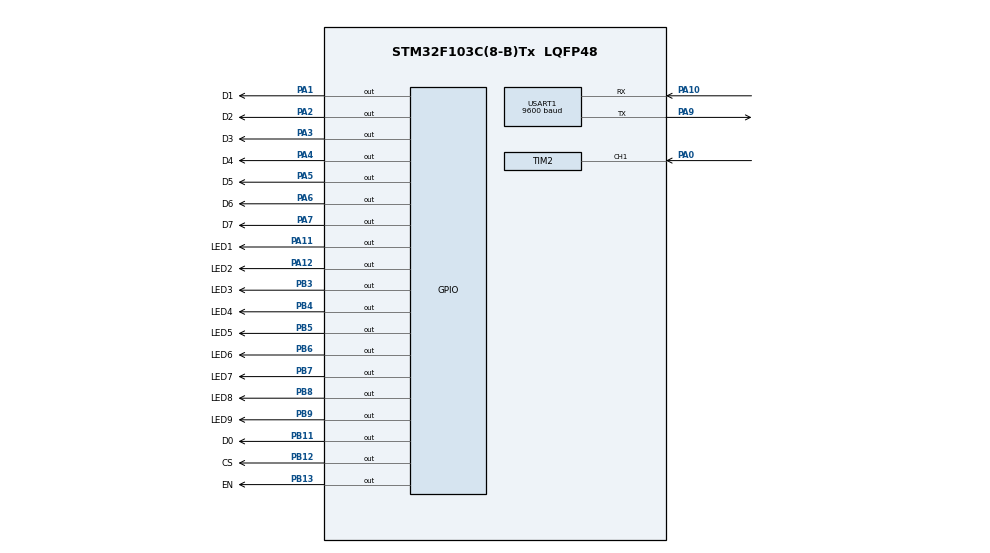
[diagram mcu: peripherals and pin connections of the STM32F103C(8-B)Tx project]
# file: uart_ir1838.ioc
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Mcu.Family=STM32F1
Mcu.Name=STM32F103C(8-B)Tx
Mcu.Package=LQFP48
NVIC.PriorityGroup=NVIC_PRIORITYGROUP_4
NVIC.TIM2_IRQn=true\:0\:0\:false\:false\:true\:true\:true\:true
NVIC.USART1_IRQn=true\:0\:0\:false\:false\:true\:true\:true\:true
PA0-WKUP.Signal=S_TIM2_CH1_ETR
PA1.GPIO_Label=D1
PA1.Signal=GPIO_Output
PA10.Mode=Asynchronous
PA10.Signal=USART1_RX
PA11.GPIO_Label=LED1
PA11.Signal=GPIO_Output
PA12.GPIO_Label=LED2
PA12.Signal=GPIO_Output
PA13.Mode=Serial_Wire
PA13.Signal=SYS_JTMS-SWDIO
PA14.Mode=Serial_Wire
PA14.Signal=SYS_JTCK-SWCLK
PA2.GPIO_Label=D2
PA2.Signal=GPIO_Output
PA3.GPIO_Label=D3
PA3.Signal=GPIO_Output
PA4.GPIO_Label=D4
PA4.Signal=GPIO_Output
PA5.GPIO_Label=D5
PA5.Signal=GPIO_Output
PA6.GPIO_Label=D6
PA6.Signal=GPIO_Output
PA7.GPIO_Label=D7
PA7.Signal=GPIO_Output
PA9.Mode=Asynchronous
PA9.Signal=USART1_TX
PB11.GPIO_Label=D0
PB11.Signal=GPIO_Output
PB12.GPIO_Label=CS
PB12.Signal=GPIO_Output
PB13.GPIO_Label=EN
PB13.Signal=GPIO_Output
PB3.GPIO_Label=LED3
PB3.Signal=GPIO_Output
PB4.GPIO_Label=LED4
PB4.Signal=GPIO_Output
PB5.GPIO_Label=LED5
PB5.Signal=GPIO_Output
PB6.GPIO_Label=LED6
PB6.Signal=GPIO_Output
PB7.GPIO_Label=LED7
PB7.Signal=GPIO_Output
PB8.GPIO_Label=LED8
PB8.Signal=GPIO_Output
PB9.GPIO_Label=LED9
PB9.Signal=GPIO_Output
PD0-OSC_IN.Mode=HSE-External-Oscillator
PD0-OSC_IN.Signal=RCC_OSC_IN
PD1-OSC_OUT.Mode=HSE-External-Oscillator
PD1-OSC_OUT.Signal=RCC_OSC_OUT
ProjectManager.HeapSize=0x200
ProjectManager.StackSize=0x400
ProjectManager.TargetToolchain=MDK-ARM V5.32
RCC.APB1Freq_Value=8000000
RCC.APB2Freq_Value=8000000
SH.S_TIM2_CH1_ETR.0=TIM2_CH1,Input_Capture1_from_TI1
TIM2.Channel-Input_Capture1_from_TI1=TIM_CHANNEL_1
TIM2.ICPolarity_CH1=TIM_INPUTCHANNELPOLARITY_FALLING
TIM2.Prescaler=799
USART1.BaudRate=9600
USART1.VirtualMode=VM_ASYNC
board=custom

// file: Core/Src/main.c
/* USER CODE BEGIN Header */
/**
  ******************************************************************************
  * @file           : main.c
  * @brief          : Main program body
  ******************************************************************************
  * @attention
  *
  * Copyright (c) 2025 STMicroelectronics.
  * All rights reserved.
  *
  * This software is licensed under terms that can be found in the LICENSE file
  * in the root directory of this software component.
  * If no LICENSE file comes with this software, it is provided AS-IS.
  *
  ******************************************************************************
  */
/* USER CODE END Header */
#include "main.h"

/* USER CODE BEGIN Includes */
#include "CLCD.h"
#include <stdio.h>
#include <string.h>
/* USER CODE END Includes */

TIM_HandleTypeDef htim2;

UART_HandleTypeDef huart1;

/* USER CODE BEGIN PV */
CLCD_Name LCD1;
uint8_t key = 0;
char LCD_send[16];
char status[10];

uint8_t rx_data;          // D? li?u nh?n 1 byte
uint8_t rx_flag = 0;      // C? b�o d� nh?n du?c d? li?u
float sensor_value = 0;   // Gi� tr? d? li?u thay d?i (v� d? c?m bi?n)
float last_value = 0;     // Luu gi� tr? cu d? so s�nh
char tx_buffer[50];       // B? d?m truy?n UART
/* USER CODE END PV */

void SystemClock_Config(void);
static void MX_GPIO_Init(void);
static void MX_USART1_UART_Init(void);
static void MX_TIM2_Init(void);
/* USER CODE BEGIN PFP */
#define START_MIN_TIME 130
#define START_MAX_TIME 140
#define COMMAND        17

uint16_t time_pre = 0;
uint16_t time_current = 0;
uint16_t period = 0;
uint8_t count = 0;
uint32_t bit = 0;
uint32_t hex_ir = 0;
/* USER CODE END PFP */

int main(void)
{

  /* MCU Configuration--------------------------------------------------------*/

  /* Reset of all peripherals, Initializes the Flash interface and the Systick. */
  HAL_Init();

  /* Configure the system clock */
  SystemClock_Config();

  /* Initialize all configured peripherals */
  MX_GPIO_Init();
  MX_USART1_UART_Init();
  MX_TIM2_Init();
  /* USER CODE BEGIN 2 */
	//HAL_UART_Receive_IT(&huart1, &rx_data, 1);

	HAL_TIM_IC_Start_IT(&htim2, TIM_CHANNEL_1);
	CLCD_8BIT_Init(&LCD1, 16, 2,CS_GPIO_Port, CS_Pin, EN_GPIO_Port, EN_Pin,
               D0_GPIO_Port, D0_Pin, D1_GPIO_Port, D1_Pin,
							 D2_GPIO_Port, D2_Pin, D3_GPIO_Port, D3_Pin,
							 D4_GPIO_Port, D4_Pin, D5_GPIO_Port, D5_Pin,
							 D6_GPIO_Port, D6_Pin, D7_GPIO_Port, D7_Pin);

	HAL_UART_Transmit(&huart1, (uint8_t *)"UART started\r\n", 13, 1000);

  /* USER CODE END 2 */

  /* Infinite loop */
  while (1)
  {

    /* USER CODE BEGIN 3 */
		CLCD_SetCursor(&LCD1, 0, 0);
		CLCD_WriteString(&LCD1, "DIEP VAN DU");
		sprintf(LCD_send, "So phim: %d",key);
		if(hex_ir != 0){
			//memset(status, 0, sizeof(status));
		  switch(hex_ir){
		     case 66961470: key = 0; break;
			   case 66888030: key = 1; break;
			   case 66957390: key = 2; break;
         case 66973710: key = 3; break;
			   case 66871710: key = 4; break;
			   case 66936990: key = 5; break;
			   case 66904350: key = 6; break;
			   case 66847230: key = 7; break;
			   case 66969630: key = 8; break;
			   case 66924750: key = 9; break;
			   default: key = 0; break;
		}
		   CLCD_SetCursor(&LCD1, 0, 1);
       //CLCD_WriteString(&LCD1, "                "); // clear line
		   sprintf(LCD_send, "So phim: %d",key);
		   CLCD_SetCursor(&LCD1, 0, 1);
		   CLCD_WriteString(&LCD1, LCD_send);
	//	sprintf(LCD_send, "So phim: %d",key);
	//	CLCD_SetCursor(&LCD1, 8, 1);
	//	CLCD_WriteString(&LCD1, LCD_send);
		//hex_ir = 0;
  }
  sprintf(tx_buffer, "IR Code: %d \r\n", hex_ir);
  HAL_UART_Transmit(&huart1, (uint8_t *)tx_buffer, strlen(tx_buffer), 1000);
	HAL_Delay(100);

	//----------------------------------------------------------------------//
	if(key ==0 ){
	  HAL_GPIO_WritePin(LED1_GPIO_Port,LED1_Pin,GPIO_PIN_SET);
		HAL_GPIO_WritePin(LED2_GPIO_Port,LED2_Pin,GPIO_PIN_SET);
		HAL_GPIO_WritePin(LED3_GPIO_Port,LED3_Pin,GPIO_PIN_SET);
		HAL_GPIO_WritePin(LED4_GPIO_Port,LED4_Pin,GPIO_PIN_SET);
		HAL_GPIO_WritePin(LED5_GPIO_Port,LED5_Pin,GPIO_PIN_SET);
		HAL_GPIO_WritePin(LED6_GPIO_Port,LED6_Pin,GPIO_PIN_SET);
		HAL_GPIO_WritePin(LED7_GPIO_Port,LED7_Pin,GPIO_PIN_SET);
		HAL_GPIO_WritePin(LED8_GPIO_Port,LED8_Pin,GPIO_PIN_SET);
		HAL_GPIO_WritePin(LED9_GPIO_Port,LED9_Pin,GPIO_PIN_SET);
		HAL_Delay(100);
 }
 else{
	 if(key ==1){
		 HAL_GPIO_TogglePin(LED1_GPIO_Port,LED1_Pin);
	   HAL_Delay(100);
	 }
	 if(key ==2){
		 HAL_GPIO_TogglePin(LED2_GPIO_Port,LED2_Pin);
	   HAL_Delay(100);
	 }
	 if(key ==3){
		 HAL_GPIO_TogglePin(LED3_GPIO_Port,LED3_Pin);
	   HAL_Delay(100);
	 }
	 if(key ==4){
		 HAL_GPIO_TogglePin(LED4_GPIO_Port,LED4_Pin);
	   HAL_Delay(100);
	 }
	 if(key ==5){
		 HAL_GPIO_TogglePin(LED5_GPIO_Port,LED5_Pin);
	   HAL_Delay(100);
	 }
	 if(key ==6){
		 HAL_GPIO_TogglePin(LED6_GPIO_Port,LED6_Pin);
	   HAL_Delay(100);
	 }
	 if(key ==7){
		 HAL_GPIO_TogglePin(LED7_GPIO_Port,LED7_Pin);
	   HAL_Delay(100);
	 }
	 if(key ==8){
		 HAL_GPIO_TogglePin(LED8_GPIO_Port,LED8_Pin);
	   HAL_Delay(100);
	 }
	 if(key ==9){
		 HAL_GPIO_TogglePin(LED9_GPIO_Port,LED9_Pin);
	   HAL_Delay(100);
	 }
 }
}
	//-----------------------------------------------------------------------//
  /* USER CODE END 3 */
}

void SystemClock_Config(void)
{
  RCC_OscInitTypeDef RCC_OscInitStruct = {0};
  RCC_ClkInitTypeDef RCC_ClkInitStruct = {0};

  /** Initializes the RCC Oscillators according to the specified parameters
  * in the RCC_OscInitTypeDef structure.
  */
  RCC_OscInitStruct.OscillatorType = RCC_OSCILLATORTYPE_HSI;
  RCC_OscInitStruct.HSIState = RCC_HSI_ON;
  RCC_OscInitStruct.HSICalibrationValue = RCC_HSICALIBRATION_DEFAULT;
  RCC_OscInitStruct.PLL.PLLState = RCC_PLL_NONE;
  if (HAL_RCC_OscConfig(&RCC_OscInitStruct) != HAL_OK)
  {
    Error_Handler();
  }

  /** Initializes the CPU, AHB and APB buses clocks
  */
  RCC_ClkInitStruct.ClockType = RCC_CLOCKTYPE_HCLK|RCC_CLOCKTYPE_SYSCLK
                              |RCC_CLOCKTYPE_PCLK1|RCC_CLOCKTYPE_PCLK2;
  RCC_ClkInitStruct.SYSCLKSource = RCC_SYSCLKSOURCE_HSI;
  RCC_ClkInitStruct.AHBCLKDivider = RCC_SYSCLK_DIV1;
  RCC_ClkInitStruct.APB1CLKDivider = RCC_HCLK_DIV1;
  RCC_ClkInitStruct.APB2CLKDivider = RCC_HCLK_DIV1;

  if (HAL_RCC_ClockConfig(&RCC_ClkInitStruct, FLASH_LATENCY_0) != HAL_OK)
  {
    Error_Handler();
  }
}

static void MX_TIM2_Init(void)
{

  TIM_MasterConfigTypeDef sMasterConfig = {0};
  TIM_IC_InitTypeDef sConfigIC = {0};

  htim2.Instance = TIM2;
  htim2.Init.Prescaler = 799;
  htim2.Init.CounterMode = TIM_COUNTERMODE_UP;
  htim2.Init.Period = 65535;
  htim2.Init.ClockDivision = TIM_CLOCKDIVISION_DIV1;
  htim2.Init.AutoReloadPreload = TIM_AUTORELOAD_PRELOAD_DISABLE;
  if (HAL_TIM_IC_Init(&htim2) != HAL_OK)
  {
    Error_Handler();
  }
  sMasterConfig.MasterOutputTrigger = TIM_TRGO_RESET;
  sMasterConfig.MasterSlaveMode = TIM_MASTERSLAVEMODE_DISABLE;
  if (HAL_TIMEx_MasterConfigSynchronization(&htim2, &sMasterConfig) != HAL_OK)
  {
    Error_Handler();
  }
  sConfigIC.ICPolarity = TIM_INPUTCHANNELPOLARITY_FALLING;
  sConfigIC.ICSelection = TIM_ICSELECTION_DIRECTTI;
  sConfigIC.ICPrescaler = TIM_ICPSC_DIV1;
  sConfigIC.ICFilter = 0;
  if (HAL_TIM_IC_ConfigChannel(&htim2, &sConfigIC, TIM_CHANNEL_1) != HAL_OK)
  {
    Error_Handler();
  }

}

static void MX_USART1_UART_Init(void)
{

  huart1.Instance = USART1;
  huart1.Init.BaudRate = 9600;
  huart1.Init.WordLength = UART_WORDLENGTH_8B;
  huart1.Init.StopBits = UART_STOPBITS_1;
  huart1.Init.Parity = UART_PARITY_NONE;
  huart1.Init.Mode = UART_MODE_TX_RX;
  huart1.Init.HwFlowCtl = UART_HWCONTROL_NONE;
  huart1.Init.OverSampling = UART_OVERSAMPLING_16;
  if (HAL_UART_Init(&huart1) != HAL_OK)
  {
    Error_Handler();
  }

}

static void MX_GPIO_Init(void)
{
  GPIO_InitTypeDef GPIO_InitStruct = {0};

  /* GPIO Ports Clock Enable */
  __HAL_RCC_GPIOD_CLK_ENABLE();
  __HAL_RCC_GPIOA_CLK_ENABLE();
  __HAL_RCC_GPIOB_CLK_ENABLE();

  /*Configure GPIO pin Output Level */
  HAL_GPIO_WritePin(GPIOA, D1_Pin|D2_Pin|D3_Pin|D4_Pin
                          |D5_Pin|D6_Pin|D7_Pin|LED1_Pin
                          |LED2_Pin, GPIO_PIN_RESET);

  /*Configure GPIO pin Output Level */
  HAL_GPIO_WritePin(GPIOB, D0_Pin|CS_Pin|EN_Pin|LED3_Pin
                          |LED4_Pin|LED5_Pin|LED6_Pin|LED7_Pin
                          |LED8_Pin|LED9_Pin, GPIO_PIN_RESET);

  /*Configure GPIO pins : D1_Pin D2_Pin D3_Pin D4_Pin
                           D5_Pin D6_Pin D7_Pin LED1_Pin
                           LED2_Pin */
  GPIO_InitStruct.Pin = D1_Pin|D2_Pin|D3_Pin|D4_Pin
                          |D5_Pin|D6_Pin|D7_Pin|LED1_Pin
                          |LED2_Pin;
  GPIO_InitStruct.Mode = GPIO_MODE_OUTPUT_PP;
  GPIO_InitStruct.Pull = GPIO_NOPULL;
  GPIO_InitStruct.Speed = GPIO_SPEED_FREQ_LOW;
  HAL_GPIO_Init(GPIOA, &GPIO_InitStruct);

  /*Configure GPIO pins : D0_Pin CS_Pin EN_Pin LED3_Pin
                           LED4_Pin LED5_Pin LED6_Pin LED7_Pin
                           LED8_Pin LED9_Pin */
  GPIO_InitStruct.Pin = D0_Pin|CS_Pin|EN_Pin|LED3_Pin
                          |LED4_Pin|LED5_Pin|LED6_Pin|LED7_Pin
                          |LED8_Pin|LED9_Pin;
  GPIO_InitStruct.Mode = GPIO_MODE_OUTPUT_PP;
  GPIO_InitStruct.Pull = GPIO_NOPULL;
  GPIO_InitStruct.Speed = GPIO_SPEED_FREQ_LOW;
  HAL_GPIO_Init(GPIOB, &GPIO_InitStruct);

}

/* USER CODE BEGIN 4 */
void HAL_TIM_IC_CaptureCallback(TIM_HandleTypeDef *htim){
  time_current = HAL_TIM_ReadCapturedValue(&htim2, TIM_CHANNEL_1);
	period = time_current - time_pre;
	time_pre = time_current;
	if(period > START_MIN_TIME && period < START_MAX_TIME){
	  hex_ir = 0;
		count = 0;
		bit = 0;
	}
	else if(period > COMMAND){
	  bit = bit | 0x01;
		bit = bit << 1;
		count++;
	}
	else if(period < COMMAND){
	  bit = bit << 1;
		count++;
	}
	if(count == 32){
	  hex_ir =  bit;
	}
}

/* USER CODE END 4 */

void Error_Handler(void)
{
  __disable_irq();
  while (1)
  {
  }
}
